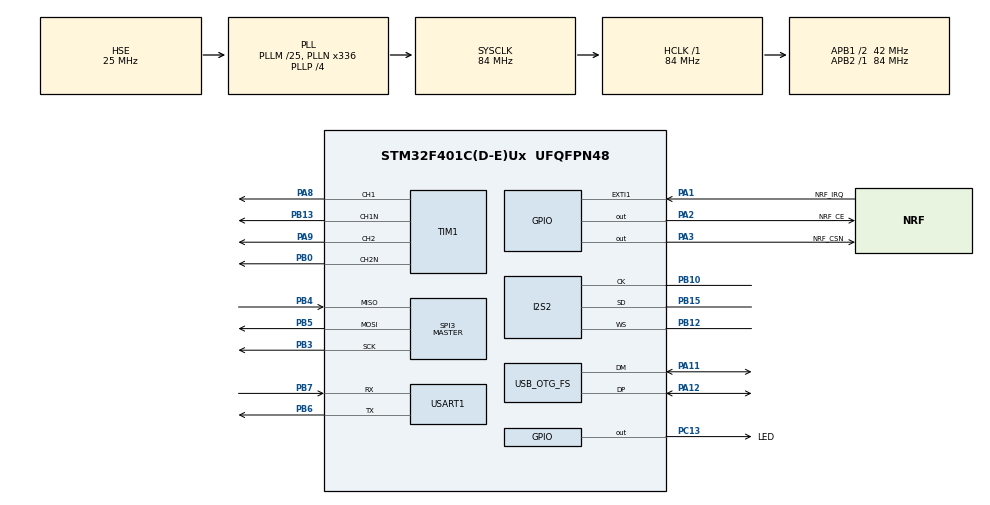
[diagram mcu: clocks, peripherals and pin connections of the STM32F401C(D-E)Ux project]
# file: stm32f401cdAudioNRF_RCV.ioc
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Dma.Request0=SPI2_TX
Dma.Request1=TIM1_CH1
Dma.Request2=TIM1_CH2
Dma.SPI2_TX.0.Direction=DMA_MEMORY_TO_PERIPH
Dma.SPI2_TX.0.FIFOMode=DMA_FIFOMODE_ENABLE
Dma.SPI2_TX.0.FIFOThreshold=DMA_FIFO_THRESHOLD_FULL
Dma.SPI2_TX.0.Instance=DMA1_Stream4
Dma.SPI2_TX.0.MemBurst=DMA_MBURST_INC8
Dma.SPI2_TX.0.MemDataAlignment=DMA_MDATAALIGN_HALFWORD
Dma.SPI2_TX.0.MemInc=DMA_MINC_ENABLE
Dma.SPI2_TX.0.Mode=DMA_CIRCULAR
Dma.SPI2_TX.0.PeriphBurst=DMA_PBURST_SINGLE
Dma.SPI2_TX.0.PeriphDataAlignment=DMA_PDATAALIGN_HALFWORD
Dma.SPI2_TX.0.PeriphInc=DMA_PINC_DISABLE
Dma.SPI2_TX.0.Priority=DMA_PRIORITY_HIGH
Dma.TIM1_CH1.1.Direction=DMA_MEMORY_TO_PERIPH
Dma.TIM1_CH1.1.FIFOMode=DMA_FIFOMODE_ENABLE
Dma.TIM1_CH1.1.FIFOThreshold=DMA_FIFO_THRESHOLD_FULL
Dma.TIM1_CH1.1.Instance=DMA2_Stream1
Dma.TIM1_CH1.1.MemBurst=DMA_MBURST_SINGLE
Dma.TIM1_CH1.1.MemDataAlignment=DMA_MDATAALIGN_HALFWORD
Dma.TIM1_CH1.1.MemInc=DMA_MINC_ENABLE
Dma.TIM1_CH1.1.Mode=DMA_CIRCULAR
Dma.TIM1_CH1.1.PeriphBurst=DMA_PBURST_SINGLE
Dma.TIM1_CH1.1.PeriphDataAlignment=DMA_PDATAALIGN_HALFWORD
Dma.TIM1_CH1.1.PeriphInc=DMA_PINC_DISABLE
Dma.TIM1_CH1.1.Priority=DMA_PRIORITY_HIGH
Dma.TIM1_CH2.2.Direction=DMA_MEMORY_TO_PERIPH
Dma.TIM1_CH2.2.FIFOMode=DMA_FIFOMODE_ENABLE
Dma.TIM1_CH2.2.FIFOThreshold=DMA_FIFO_THRESHOLD_FULL
Dma.TIM1_CH2.2.Instance=DMA2_Stream2
Dma.TIM1_CH2.2.MemBurst=DMA_MBURST_SINGLE
Dma.TIM1_CH2.2.MemDataAlignment=DMA_MDATAALIGN_HALFWORD
Dma.TIM1_CH2.2.MemInc=DMA_MINC_ENABLE
Dma.TIM1_CH2.2.Mode=DMA_CIRCULAR
Dma.TIM1_CH2.2.PeriphBurst=DMA_PBURST_SINGLE
Dma.TIM1_CH2.2.PeriphDataAlignment=DMA_PDATAALIGN_HALFWORD
Dma.TIM1_CH2.2.PeriphInc=DMA_PINC_DISABLE
Dma.TIM1_CH2.2.Priority=DMA_PRIORITY_HIGH
I2S2.AudioFreq=I2S_AUDIOFREQ_44K
I2S2.DataFormat=I2S_DATAFORMAT_32B
I2S2.ErrorAudioFreq=-1.35 %
I2S2.FullDuplexMode=I2S_FULLDUPLEXMODE_DISABLE
I2S2.Instance=SPI$Index
I2S2.RealAudioFreq=43.402 KHz
I2S2.VirtualMode=I2S_MODE_MASTER
Mcu.Family=STM32F4
Mcu.Name=STM32F401C(D-E)Ux
Mcu.Package=UFQFPN48
NVIC.DMA1_Stream4_IRQn=true\:0\:0\:false\:false\:true\:false\:true\:true
NVIC.DMA2_Stream1_IRQn=true\:0\:0\:false\:false\:true\:false\:true\:true
NVIC.DMA2_Stream2_IRQn=true\:0\:0\:false\:false\:true\:false\:true\:true
NVIC.EXTI1_IRQn=true\:0\:0\:false\:false\:true\:true\:true\:true
NVIC.PriorityGroup=NVIC_PRIORITYGROUP_4
PA1.GPIO_Label=NRF_IRQ
PA1.GPIO_ModeDefaultEXTI=GPIO_MODE_IT_FALLING
PA1.GPIO_PuPd=GPIO_PULLUP
PA1.Signal=GPXTI1
PA11.Mode=Device_Only
PA11.Signal=USB_OTG_FS_DM
PA12.Mode=Device_Only
PA12.Signal=USB_OTG_FS_DP
PA13.Mode=Serial_Wire
PA13.Signal=SYS_JTMS-SWDIO
PA14.Mode=Serial_Wire
PA14.Signal=SYS_JTCK-SWCLK
PA2.GPIO_Label=NRF_CE
PA2.GPIO_Speed=GPIO_SPEED_FREQ_HIGH
PA2.Signal=GPIO_Output
PA3.GPIO_Label=NRF_CSN
PA3.GPIO_Speed=GPIO_SPEED_FREQ_HIGH
PA3.Signal=GPIO_Output
PA8.GPIO_ModeDefaultPP=GPIO_MODE_AF_OD
PA8.Signal=S_TIM1_CH1
PA9.GPIO_ModeDefaultPP=GPIO_MODE_AF_OD
PA9.Signal=S_TIM1_CH2
PB0.Mode=PWM Generation2 CH2 CH2N
PB0.Signal=TIM1_CH2N
PB10.Mode=Half_Duplex_Master
PB10.Signal=I2S2_CK
PB12.Mode=Half_Duplex_Master
PB12.Signal=I2S2_WS
PB13.Mode=PWM Generation1 CH1 CH1N
PB13.Signal=TIM1_CH1N
PB15.Mode=Half_Duplex_Master
PB15.Signal=I2S2_SD
PB3.Mode=Full_Duplex_Master
PB3.Signal=SPI3_SCK
PB4.Mode=Full_Duplex_Master
PB4.Signal=SPI3_MISO
PB5.Mode=Full_Duplex_Master
PB5.Signal=SPI3_MOSI
PB6.Mode=Asynchronous
PB6.Signal=USART1_TX
PB7.Mode=Asynchronous
PB7.Signal=USART1_RX
PC13-ANTI_TAMP.GPIO_Label=LED
PC13-ANTI_TAMP.GPIO_ModeDefaultOutputPP=GPIO_MODE_OUTPUT_OD
PC13-ANTI_TAMP.GPIO_PuPd=GPIO_NOPULL
PC13-ANTI_TAMP.PinState=GPIO_PIN_SET
PC13-ANTI_TAMP.Signal=GPIO_Output
PC14-OSC32_IN.Mode=LSE-External-Oscillator
PC14-OSC32_IN.Signal=RCC_OSC32_IN
PC15-OSC32_OUT.Mode=LSE-External-Oscillator
PC15-OSC32_OUT.Signal=RCC_OSC32_OUT
PH0\ -\ OSC_IN.Mode=HSE-External-Oscillator
PH0\ -\ OSC_IN.Signal=RCC_OSC_IN
PH1\ -\ OSC_OUT.Mode=HSE-External-Oscillator
PH1\ -\ OSC_OUT.Signal=RCC_OSC_OUT
ProjectManager.HeapSize=0x200
ProjectManager.StackSize=0x400
ProjectManager.TargetToolchain=STM32CubeIDE
RCC.48MHZClocksFreq_Value=48000000
RCC.AHBFreq_Value=84000000
RCC.APB1CLKDivider=RCC_HCLK_DIV2
RCC.APB1Freq_Value=42000000
RCC.APB1TimFreq_Value=84000000
RCC.APB2Freq_Value=84000000
RCC.APB2TimFreq_Value=84000000
RCC.CortexFreq_Value=84000000
RCC.HCLKFreq_Value=84000000
RCC.HSE_VALUE=25000000
RCC.HSI_VALUE=16000000
RCC.PLLI2SN=100
RCC.PLLM=25
RCC.PLLN=336
RCC.PLLP=RCC_PLLP_DIV4
RCC.PLLQ=7
RCC.SYSCLKFreq_VALUE=84000000
RCC.SYSCLKSource=RCC_SYSCLKSOURCE_PLLCLK
RCC.VCOOutputFreq_Value=336000000
SH.S_TIM1_CH1.0=TIM1_CH1,PWM Generation1 CH1 CH1N
SH.S_TIM1_CH2.0=TIM1_CH2,PWM Generation2 CH2 CH2N
SPI3.Direction=SPI_DIRECTION_2LINES
SPI3.Mode=SPI_MODE_MASTER
SPI3.VirtualType=VM_MASTER
TIM1.Channel-PWM\ Generation1\ CH1\ CH1N=TIM_CHANNEL_1
TIM1.Channel-PWM\ Generation2\ CH2\ CH2N=TIM_CHANNEL_2
USART1.VirtualMode=VM_ASYNC
USB_OTG_FS.VirtualMode=Device_Only
VP_CRC_VS_CRC.Mode=CRC_Activate
VP_TIM1_VS_ClockSourceINT.Mode=Internal
VP_TIM3_VS_ClockSourceINT.Mode=Internal
board=custom

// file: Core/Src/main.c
/* USER CODE BEGIN Header */
/**
  ******************************************************************************
  * @file           : main.c
  * @brief          : Main program body
  ******************************************************************************
  * @attention
  *
  * Copyright (c) 2024 STMicroelectronics.
  * All rights reserved.
  *
  * This software is licensed under terms that can be found in the LICENSE file
  * in the root directory of this software component.
  * If no LICENSE file comes with this software, it is provided AS-IS.
  *
  ******************************************************************************
  */
/* USER CODE END Header */
#include "main.h"

CRC_HandleTypeDef hcrc;

I2S_HandleTypeDef hi2s2;
DMA_HandleTypeDef hdma_spi2_tx;

SPI_HandleTypeDef hspi3;

TIM_HandleTypeDef htim3;

UART_HandleTypeDef huart1;

PCD_HandleTypeDef hpcd_USB_OTG_FS;

/* USER CODE BEGIN PV */
#ifndef USBD_AUDIO_FREQ
#define USBD_AUDIO_FREQ 44100
#endif

#define SIGMA_BITS  15
#define SIGMA       (1<<SIGMA_BITS)

#define OLD

//#define LOW_LATENCY

#ifdef LOW_LATENCY
#define NUM_RCV_BFRS 2
#else
#define NUM_RCV_BFRS 3
#endif

#define ORDER 1
#define LINEAR_INTERPOLATION
#ifdef LINEAR_INTERPOLATION
#define FREQ_SCALE (6.0)

#define BIT_SHIFT_SCALE_FACT 12
#define SHIFT_SCALE_FACT  (1<<BIT_SHIFT_SCALE_FACT)
#else
#define FREQ_SCALE (8.0f)
#endif

//#define DEBUG_INFO_PRINT

#define SPDIF_FRAMES (192)

//https://askubuntu.com/questions/78174/play-sound-through-two-or-more-outputs-devices
//https://www.aliexpress.com/item/32810814170.html

#define TIME_FILT_LEN 10
int timeForRecivedSamples_mean[TIME_FILT_LEN];

#define TIME_BIT_SCALE_FACT 18
#define TIME_SCALE_FACT     (1<<TIME_BIT_SCALE_FACT)

#define MAX_CORR  (TIME_SCALE_FACT>>12)
//float  scaleOffs = 1;
//float  scaleDiff = 4;
int  scaleOffs = 1;
int  scaleDiff = 4;

#define TIMER_CLOCK_FREQ 1000000.0f

void delay_uS(int mkS)
{
	uint16_t lastAudioUsbTimeStampNew = TIM3->CNT+mkS;
	while(((uint16_t)(TIM3->CNT - lastAudioUsbTimeStampNew))&0x8000);
}

#define NUM_PAKS_IN_SUP 25
#define CHANEL_NUM      76
#define PAYLOAD 32
#define PACKET_SIZE (PAYLOAD-1)
static const uint8_t tx_address[5] = {0x17,0x27,0x37,0x47,0x57};

#define NUM_IN_SPDIF_DIV 16

#define N_SIZE         (SPDIF_FRAMES*4/NUM_IN_SPDIF_DIV)

//#define ASBUF_SIZE     (N_SIZE*2)
//__attribute__((section(".noncacheable")))
int16_t baudio_buffer[N_SIZE*4];

uint16_t* VoiceBuff0 = (uint16_t*)&baudio_buffer[0];
uint16_t* VoiceBuff1 = (uint16_t*)&baudio_buffer[N_SIZE];
int MAX_VOL = 65536;
void init_timers()
{

	  TIM1->ARR = MAX_VOL-1;
	  LL_AHB1_GRP1_EnableClock(LL_AHB1_GRP1_PERIPH_DMA2);
	  LL_DMA_ConfigAddresses(DMA2, LL_DMA_STREAM_1, (uint32_t)&VoiceBuff0[0], (uint32_t)&TIM1->CCR1, LL_DMA_GetDataTransferDirection(DMA2, LL_DMA_STREAM_1));
	  LL_DMA_SetDataLength(DMA2, LL_DMA_STREAM_1, N_SIZE);
	  LL_DMA_EnableIT_TC(DMA2, LL_DMA_STREAM_1);
	  LL_DMA_EnableIT_TE(DMA2, LL_DMA_STREAM_1);
	  LL_DMA_EnableIT_HT(DMA2, LL_DMA_STREAM_1);

	  LL_DMA_ConfigAddresses(DMA2, LL_DMA_STREAM_2, (uint32_t)&VoiceBuff1[0], (uint32_t)&TIM1->CCR2, LL_DMA_GetDataTransferDirection(DMA2, LL_DMA_STREAM_2));
	  LL_DMA_SetDataLength(DMA2, LL_DMA_STREAM_2, N_SIZE);
	  LL_DMA_EnableIT_TC(DMA2, LL_DMA_STREAM_2);
	  LL_DMA_EnableIT_HT(DMA2, LL_DMA_STREAM_2);
	  LL_DMA_EnableIT_TE(DMA2, LL_DMA_STREAM_2);

	  /***************************/
	  /* Enable the DMA transfer */
	  /***************************/
	  LL_DMA_EnableStream(DMA2, LL_DMA_STREAM_1);
	  LL_DMA_EnableStream(DMA2, LL_DMA_STREAM_2);

	  LL_TIM_EnableDMAReq_CC1(TIM1);
	  LL_TIM_EnableDMAReq_CC2(TIM1);

	  LL_TIM_CC_EnableChannel(TIM1, LL_TIM_CHANNEL_CH1);
	  LL_TIM_CC_EnableChannel(TIM1, LL_TIM_CHANNEL_CH2);

	  LL_TIM_OC_EnablePreload(TIM1, LL_TIM_CHANNEL_CH1);
	  LL_TIM_OC_EnablePreload(TIM1, LL_TIM_CHANNEL_CH2);

	  LL_TIM_CC_EnableChannel(TIM1, LL_TIM_CHANNEL_CH1N);
	  LL_TIM_CC_EnableChannel(TIM1, LL_TIM_CHANNEL_CH2N);
	  LL_TIM_OC_SetPolarity(TIM1, LL_TIM_CHANNEL_CH1,LL_TIM_OCPOLARITY_HIGH);
	  LL_TIM_OC_SetPolarity(TIM1, LL_TIM_CHANNEL_CH1N,LL_TIM_OCPOLARITY_HIGH);
	  LL_TIM_OC_SetPolarity(TIM1, LL_TIM_CHANNEL_CH2,LL_TIM_OCPOLARITY_HIGH);
	  LL_TIM_OC_SetPolarity(TIM1, LL_TIM_CHANNEL_CH2N,LL_TIM_OCPOLARITY_HIGH);
#if 0
	  //LL_TIM_OC_SetPolarity(TIM1, LL_TIM_CHANNEL_CH1,LL_TIM_OCPOLARITY_HIGH);
	  //LL_TIM_OC_SetPolarity(TIM1, LL_TIM_CHANNEL_CH1N,LL_TIM_OCPOLARITY_LOW);
      int res;
	  res = LL_TIM_OC_GetPolarity(TIM1, LL_TIM_CHANNEL_CH1);
	  printf("OC_GetPolarity %d\n",res);
	  res = LL_TIM_OC_GetPolarity(TIM1, LL_TIM_CHANNEL_CH1N);
	  printf("OC_GetPolarity %d\n",res);
#endif

	  LL_TIM_EnableCounter(TIM1);

	  LL_TIM_GenerateEvent_UPDATE(TIM1);
	  LL_TIM_GenerateEvent_CC1(TIM1);

}
void stop_timers()
{
	  LL_TIM_DisableCounter(TIM1);

}
void TIM1_TE1()
{
}
void TIM1_TC2()
{
}
void TIM1_HT2()
{
}
void TIM1_TE2()
{
}

#define INTERP_BITS  8
enum modess {NONE=-1,PWM=0,I2S,SPDIF};

enum modess OUT_MODE = NONE;
int  FREQ = 44100;

void retarget_put_char(char p)
{
	HAL_UART_Transmit(&huart1, &p, 1, 0xffffff); // send message via UART
}

#define BSIZE 0x2000
__attribute__((section(".noncacheable"))) volatile int8_t circ_buff[BSIZE];
volatile int c_write = 0;
volatile int c_read  = 0;

uint16_t crsize()
{
	return (c_write-c_read)&(BSIZE-1);
}

int  crget(char* r)
{
	if(!crsize()) return 0;
	*r = circ_buff[c_read];
	c_read ++;
	c_read&=BSIZE-1;
	return 1;

}

void cr_flush()
{
	char rr;
	//int ii = 1000;
	while(crsize())
	{
		crget(&rr),HAL_UART_Transmit(&huart1, &rr, 1, 0xffffff); // send message via UART
	}
}
void cr_flush_par()
{
	char rr;
	//int ii = 1000;
	if(crsize())
	{
		crget(&rr),HAL_UART_Transmit(&huart1, &rr, 1, 0xffffff); // send message via UART
	}
}

void crput(char r)
{
	if(crsize()<(BSIZE-1))
	{
		circ_buff[c_write] = r;
		c_write++;
		c_write&=BSIZE-1;
	}
}

int _write(int fd, char* ptr, int len)
{
    (void)fd;
    int i = 0;
    while (ptr[i] && (i < len))
    {
    	if (ptr[i] == '\r')
    	{

    	}
    	else
    	{
    		crput(ptr[i]);
			//retarget_put_char((int)ptr[i]);
			if (ptr[i] == '\n')
			{
				crput('\r');
				//retarget_put_char((int)'\r');
			}
    	}
        i++;
    }
    return len;
}
#include "tm_stm32f1_nrf24l01.h"
//#include "nrf24l01.h"

extern SPI_HandleTypeDef hspi1;

uint8_t  old_counter = 0;

int cntOk;
int cntLost;

int nrfOnline=0;

//static const uint8_t rx_address[5] = {0x1e,0x2e,0x3e,0x4e,0x5e};

#define RCV_SIZE ( PACKET_SIZE*(NUM_PAKS_IN_SUP-1))
uint8_t rcv_buff[RCV_SIZE*NUM_RCV_BFRS];
volatile int rcv_buff_write = 0;

struct sAuPacket
{
	uint8_t num;
	uint8_t data[PACKET_SIZE];
} APacketQ[NUM_PAKS_IN_SUP];

struct sAuPacket ATemp;

int  median3(int  a, int  b, int  c)
{
   return (b<a)
              ?   (b<c)  ?  (c<a) ? c : a  :  b
              :   (a<c)  ?  (c<b) ? c : b  :  a;
}

int tfl_mean[3];
int pnt_mean = 0;

struct sLastDma
{
	uint16_t  lastDmaPos;
	uint16_t  lastDmaAccessTime;
};

volatile struct sLastDma lastDma;

uint32_t  readPositionXScaled  = 0;
uint32_t  readSpeedXScaled     = 1;
uint32_t  samplesInBuffScaled  = 0;

volatile int UsbSamplesAvail = 0;

int32_t   samplesInBuff     = 0;
void * usb_SndBuffer        = 0;
#define VOL_BITS   6
#define VOL_SCALE  (1<<VOL_BITS)

int volume     = 0;
int volume_set = VOL_SCALE;
int volume_inc = 1;
void volume_ctrl()
{
	static int prev;
	int curr = HAL_GetTick();
	if(curr-prev>20)
	{
		if(volume_inc>0)
		{
			if(volume<volume_set)
				volume+=1;
			else
				volume_inc = 0;
		}
		else if(volume_inc<0)
		{
			if(volume>0)
				volume-=1;
			else
				volume_inc = 0;
		}
		prev = curr;
	}
	else
	{
	}
}
int bytesPerSampleLR = 4;
#define  OVER_OFFSET (samplesInBuff*1/16)
void AUDIO_OUT_Start(void* pBuffer, uint32_t Size,int sampleBits)
{
	bytesPerSampleLR = 2*sampleBits/8;
	samplesInBuff = Size/bytesPerSampleLR; //(L & R channels short)
	printf("AUDIO_OUT_Start %p Size = %d sampleBits=%d DMA_B %d  bytesPerSampleLR=%d samplesInBuff %d half samples out %d \n",pBuffer,Size,sampleBits,N_SIZE*8,bytesPerSampleLR,samplesInBuff,N_SIZE/2);

	usb_SndBuffer = pBuffer;
	volume = 0;
	volume_inc  = 1;
	//AUDIO_OUT_Play_Counter++;

	samplesInBuffScaled = samplesInBuff<<TIME_BIT_SCALE_FACT;
	readPositionXScaled = samplesInBuffScaled/2+OVER_OFFSET;
#ifdef OLD
	int timeForRecivedSamples = samplesInBuff*TIMER_CLOCK_FREQ/USBD_AUDIO_FREQ;
#else
	int timeForRecivedSamples = samplesInBuff*TIMER_CLOCK_FREQ/USBD_AUDIO_FREQ/NUM_RCV_BFRS;
#endif
	printf("timeForRecivedSamples %d\n",timeForRecivedSamples);
	for(int k=0;k<TIME_FILT_LEN;k++)
	{
		timeForRecivedSamples_mean[k] = timeForRecivedSamples;
	}
	//inputSpeed = samplesInBuff*TIMER_CLOCK_FREQ/timeForRecivedSamples
}
uint16_t  lastAudioUsbTimeStamp;

int pnt_timeForRecivedSamples_mean = 0;

float inputSpeed = 0;
float outSpeed;
int   offset_C_prev = -1 ;
int   appDistErr = 0;

struct STD_VAR
{
	float summ;
	float summQ;
	int cnt;
}sPos,sDif;
void clearV(struct STD_VAR * pnt)
{
	pnt->summ = 0;
	pnt->summQ = 0;
	pnt->cnt = 0;
};
void addV(struct STD_VAR * pnt,float val)
{
	pnt->summ+= val;
	pnt->summQ+= val*val;
	pnt->cnt++;
}
void calcV(struct STD_VAR * pnt,float* pmean,float*pvariance)
{
	float div = (pnt->cnt==0)?1.0f:(1.0f/pnt->cnt);
	float mean = pnt->summ *div;
	float variance = pnt->summQ *div  - mean * mean;
	*pmean = mean;
	*pvariance =  sqrtf(variance);
}
int forceCounter = 0;
int module(int num,int mod)
{
	while(num>mod/2)   num-=mod;
	while(num<-mod/2)  num+=mod;
	return num;
}

int ledTimeOut = 0;

void AUDIO_OUT_Periodic(uint8_t* pBuffer)
{
	//AUDIO_PeriodicTC_FS_Counter++;
	if(!usb_SndBuffer || OUT_MODE == NONE) return ;
	uint16_t lastAudioUsbTimeStampNew = TIM3->CNT;
	int currentWritePos  = (pBuffer - (uint8_t*)usb_SndBuffer)/bytesPerSampleLR;
#ifdef OLD
	if(currentWritePos) return ;
#endif

	struct sLastDma lastDmaCopy = lastDma;
	lastDmaCopy.lastDmaAccessTime;
	lastDmaCopy.lastDmaPos;

	uint16_t timeForRecivedSamples = lastAudioUsbTimeStampNew - lastAudioUsbTimeStamp;

	timeForRecivedSamples_mean [pnt_timeForRecivedSamples_mean++] = timeForRecivedSamples;
	pnt_timeForRecivedSamples_mean%=TIME_FILT_LEN;

	lastAudioUsbTimeStamp = lastAudioUsbTimeStampNew;

    // calc timeForRecivedSamples
	{
		int summ_t = timeForRecivedSamples_mean[0];
		int max_t = timeForRecivedSamples_mean[0];
		int min_t = timeForRecivedSamples_mean[0];
		for(int k=1;k<TIME_FILT_LEN;k++)
		{
			if(timeForRecivedSamples_mean[k]<min_t) min_t =timeForRecivedSamples_mean[k];
			if(timeForRecivedSamples_mean[k]>max_t) max_t =timeForRecivedSamples_mean[k];
			summ_t+= timeForRecivedSamples_mean[k];
		}
		summ_t -=max_t+min_t;
		summ_t/= TIME_FILT_LEN-2;
		timeForRecivedSamples  = summ_t;
	}
#ifdef OLD
	inputSpeed = samplesInBuff*TIMER_CLOCK_FREQ/timeForRecivedSamples;
#else
	inputSpeed = samplesInBuff*TIMER_CLOCK_FREQ/timeForRecivedSamples/NUM_RCV_BFRS;
#endif

	//where i am ?

	uint16_t timeFromLastDMA = lastAudioUsbTimeStampNew - lastDmaCopy.lastDmaAccessTime;
	if(timeFromLastDMA&0x8000)
	{
		HAL_GPIO_WritePin(LED_GPIO_Port,LED_Pin,GPIO_PIN_RESET);
		ledTimeOut = 20;
		// seems we have interrupt here,reset time
		printf("oveflow intr \n");
		timeFromLastDMA = 0;
	}

	int approximateSamplesOutedFromLastDMA  = ((float)timeFromLastDMA/TIMER_CLOCK_FREQ)*inputSpeed;
	int currentReadPos = approximateSamplesOutedFromLastDMA + lastDmaCopy.lastDmaPos;
	int appDistance  =  (currentWritePos  - currentReadPos + OVER_OFFSET + samplesInBuff) % samplesInBuff;
	int offset_C = module(appDistance - samplesInBuff/2 ,samplesInBuff);

	if(UsbSamplesAvail>0)
	{
		int diff_C = module(offset_C - offset_C_prev,samplesInBuff);
		// used for info print only
		appDistErr = offset_C;
		addV(&sPos,offset_C);
		addV(&sDif,diff_C);
		// end for info print only

		if(offset_C > samplesInBuff/8 || offset_C <-samplesInBuff/8 ) //seems completely lost sync , force set frequency
		{
#if 1
			//if(ledTimeOut>0)
			printf("forceB curr %d offsc %d appdist %d %d %d %d sinb/2 %d\n",currentReadPos,offset_C,appDistance,lastDmaCopy.lastDmaPos,approximateSamplesOutedFromLastDMA,timeFromLastDMA,samplesInBuff/2);
			int sForcedSpeed = (int)(inputSpeed*TIME_SCALE_FACT/outSpeed);
			readSpeedXScaled = sForcedSpeed;
			forceCounter ++;
			// move position to center (currentWrite-B/2)
			readPositionXScaled = ((currentWritePos<<TIME_SCALE_FACT)+ samplesInBuffScaled/2)%samplesInBuffScaled;
			//readPositionXScaled =  samplesInBuffScaled/2;
#endif
		}
		else
		{
			int corr = (offset_C*scaleOffs + diff_C*scaleDiff);
#ifdef MAX_CORR
			if(corr > MAX_CORR)
			{
				HAL_GPIO_WritePin(LED_GPIO_Port,LED_Pin,GPIO_PIN_RESET);
				ledTimeOut = 10;
				corr = MAX_CORR;
			}
			else if(corr < -MAX_CORR)
			{
				HAL_GPIO_WritePin(LED_GPIO_Port,LED_Pin,GPIO_PIN_RESET);
				ledTimeOut = 10;
				corr  =-MAX_CORR;
			}
			else
#endif
			{
				if(ledTimeOut>0)
				{
					ledTimeOut--;
				}
				else
				{
					HAL_GPIO_WritePin(LED_GPIO_Port,LED_Pin,GPIO_PIN_SET);
				}

			}
			readSpeedXScaled += corr;
		}
	}
	else
	{
		//readPositionXScaled = samplesInBuffScaled/2;
		readPositionXScaled = ((currentWritePos<<TIME_SCALE_FACT)+ samplesInBuffScaled/2)%samplesInBuffScaled;
	}
	volume_ctrl();
	volume_inc = 1;
	offset_C_prev =  offset_C;
	int outSpeed = OUT_MODE==SPDIF?(FREQ/4):FREQ;
#ifdef OLD
	UsbSamplesAvail = 1.2*samplesInBuff*(outSpeed)/(inputSpeed+1);
#else
	UsbSamplesAvail = 1.2*samplesInBuff/NUM_RCV_BFRS*(outSpeed)/(inputSpeed+1);
#endif
}
#if 0
void buff_init(uint8_t* buffer,int buffer_size)
{
	int bytesPerSampleLR = 2*sampleBits/8;
	samplesInBuff = Size/bytesPerSampleLR; //(L & R channels short)
	samplesInBuffH = samplesInBuff/2;

	usb_SndBuffer = pBuffer;
	AUDIO_OUT_Play_Counter++;

	samplesInBuffScaled = samplesInBuff<<TIME_BIT_SCALE_FACT;
	readPositionXScaled = samplesInBuffScaled/2;
}
#endif

struct LR
{
	int32_t L;
	int32_t R;
};
struct LR16
{
	int16_t l;
	int16_t r;
};
struct LR32
{
	uint8_t bts[8];
};

inline struct LR getNextSampleLR32B()
{
	struct LR res;
	int32_t L  = 0;
	int32_t R  = 0;
	if(UsbSamplesAvail)
	{
		//HAL_GPIO_WritePin(LED_GPIO_Port,LED_Pin,GPIO_PIN_RESET);
		readPositionXScaled += readSpeedXScaled;
		if(readPositionXScaled >= samplesInBuffScaled)
		{
			readPositionXScaled -= samplesInBuffScaled;
		}

		uint32_t readPositionIntC = readPositionXScaled>>TIME_BIT_SCALE_FACT;
#ifdef B24
			struct LR24 lrc = ((struct LR24*)usb_SndBuffer)[readPositionIntC];
			{
				uint8_t * LP = &L;
				uint8_t * RP = &R;
				LP[1] = lrc.bts[0];
				LP[2] = lrc.bts[1];
				LP[3] = lrc.bts[2];

				RP[1] = lrc.bts[3];
				RP[2] = lrc.bts[4];
				RP[3] = lrc.bts[5];
			}
			L>>=8;
			R>>=8;
#ifdef LINEAR_INTERPOLATION
			uint32_t readPositionIntN = readPositionIntC+1;
			if(readPositionIntN>=samplesInBuff)
			{
				readPositionIntN -= samplesInBuff;
			}
			int32_t LS  = 0;
			int32_t RS  = 0;
			struct LR24 lrcs = ((struct LR24*)usb_SndBuffer)[readPositionIntN];
			{
				uint8_t * LP = &LS;
				uint8_t * RP = &RS;
				LP[1] = lrcs.bts[0];
				LP[2] = lrcs.bts[1];
				LP[3] = lrcs.bts[2];

				RP[1] = lrcs.bts[3];
				RP[2] = lrcs.bts[4];
				RP[3] = lrcs.bts[5];
			}
			LS>>=8;
			RS>>=8;

			int32_t W1  =  (readPositionXScaled>>(TIME_BIT_SCALE_FACT-INTERP_BITS)) & ((1<<INTERP_BITS)-1);
			int32_t W  =  (1<<INTERP_BITS)-W1;
			L = (volume*(((L)*W+(LS)*W1)>>INTERP_BITS)/VOL_SCALE);
			R = (volume*(((R)*W+(RS)*W1)>>INTERP_BITS)/VOL_SCALE);
#else
			L = volume*L/VOL_SCALE;
			R = volume*R/VOL_SCALE;
#endif
#else
		struct LR16 lrc =((struct LR16*)usb_SndBuffer)[readPositionIntC];
		L  = lrc.l;
		R  = lrc.r;
#ifdef LINEAR_INTERPOLATION
		uint32_t readPositionIntN = readPositionIntC+1;
		if(readPositionIntN>=samplesInBuff)
		{
			readPositionIntN -= samplesInBuff;
		}
		struct LR16 lrcs =((struct LR16*)usb_SndBuffer)[readPositionIntN];
		int32_t LS  = lrcs.l;
		int32_t RS  = lrcs.r;

		//int16_t LS  = usb_SndBuffer[readPositionIntN*2+0];//+usb_SndBuffer[readPositionIntN*2+0];
		//int16_t RS  = usb_SndBuffer[readPositionIntN*2+1];//+usb_SndBuffer[readPositionIntN*2+1];

		int32_t W1  =  (readPositionXScaled>>(TIME_BIT_SCALE_FACT-INTERP_BITS)) & ((1<<INTERP_BITS)-1);
		int32_t W  =  (1<<INTERP_BITS)-W1;
		L = 256*(volume*((L*W+LS*W1)>>INTERP_BITS)/VOL_SCALE);
		R = 256*(volume*((R*W+RS*W1)>>INTERP_BITS)/VOL_SCALE);
#else
		L = 256*(volume*L/VOL_SCALE);
		R = 256*(volume*R/VOL_SCALE);
#endif
#endif

	}
	res.L = L;
	res.R = R;
	return res;
}

void checkTime()
{
	uint16_t  prevTime;
	uint16_t  tfl;
	struct sLastDma lastDmaCopy;
	prevTime = lastDma.lastDmaAccessTime;
	lastDmaCopy.lastDmaPos = readPositionXScaled>>TIME_BIT_SCALE_FACT;;
	lastDmaCopy.lastDmaAccessTime = TIM3->CNT;
	lastDma = lastDmaCopy;

	tfl      = lastDmaCopy.lastDmaAccessTime -prevTime;

	tfl_mean[pnt_mean] = tfl;
	pnt_mean++;
	if(pnt_mean>2) pnt_mean =0;

    int mean = median3(tfl_mean[0],tfl_mean[1],tfl_mean[2]);
    if (mean)
    {
		float outDmaSpeed;

		if(OUT_MODE==SPDIF)
		{
			outDmaSpeed =  ((float)N_SIZE)/4/(mean);
		}
		else
		{
			outDmaSpeed =  ((float)N_SIZE)/(mean);
		}
		outSpeed = (TIMER_CLOCK_FREQ*outDmaSpeed);
    }
   // else
  //  {
    //	outDmaSpeedScaled =  TIME_SCALE_FACT*N_SIZE/(mean);
  //  }
}

void i2s_fill(struct LR32 * bfr)
{
	for(int k=0;k<N_SIZE/2;k++)
	{
		struct LR bf= getNextSampleLR32B(/*k+ASBUF_SIZE/4*/);
		struct LR32* bfp =(struct LR32*)&bf;
#if 1
		bfr[k].bts[0] = bfp->bts[1];
		bfr[k].bts[1] = bfp->bts[2];
		bfr[k].bts[2] = 0;
		bfr[k].bts[3] = bfp->bts[0];

		bfr[k].bts[4] = bfp->bts[1+4];
		bfr[k].bts[5] = bfp->bts[2+4];
		bfr[k].bts[6] = 0;
		bfr[k].bts[7] = bfp->bts[0+4];
#else
		bfr[k].bts[0] =0;
		bfr[k].bts[1] =0;
		bfr[k].bts[2] = (bf.L>>16)&0xff;
		bfr[k].bts[3] = 0;
		bfr[k].bts[4] = 0;
		bfr[k].bts[5] = 0;
		bfr[k].bts[6] = (bf.R>>16)&0xff;
		bfr[k].bts[7] = 0;
#endif
		//bfr[k].L = (int)bf.l;
		//bfr[k].R = (int)bf.r;
	}
}
int TransferComplete_CallBack_FS_Counter = 0;
int HalfTransfer_CallBack_FS_Counter = 0;

void HAL_I2S_TxCpltCallback(I2S_HandleTypeDef *hi2s)
{
    checkTime();
	TransferComplete_CallBack_FS_Counter++;
	    if(UsbSamplesAvail > N_SIZE/2)
	    {
	    	UsbSamplesAvail -= N_SIZE/2;
	    }
	    else
	    {
	    	UsbSamplesAvail = 0;
	        volume = 0;
	    }
	  //  LR16 getNextSampleLR16()
#if 0
		struct LR16 * bfr = ((struct LR16 *) baudio_buffer)+N_SIZE/2;
		for(int k=0;k<N_SIZE/2;k++)
		{
			bfr[k] = getNextSampleLR16(/*k+ASBUF_SIZE/4*/);

		}
#else
		struct LR32 * bfr = ((struct LR32 *) baudio_buffer)+N_SIZE/2;
		i2s_fill(bfr);
#endif
}

//void HAL_I2S_TxHalfCpltCallback(I2S_HandleTypeDef *hi2s)
void HAL_I2S_TxHalfCpltCallback(I2S_HandleTypeDef *hi2s)
{
    HalfTransfer_CallBack_FS_Counter++;
	    if(UsbSamplesAvail > N_SIZE/2)
	    {
	    	UsbSamplesAvail -= N_SIZE/2;
	    }
	    else
	    {
	    	UsbSamplesAvail = 0;
	        volume = 0;
	    }
#if 0
		struct LR16 * bfr = ((struct LR16 *) baudio_buffer);
		for(int k=0;k<N_SIZE/2;k++)
			bfr[k] = getNextSampleLR16(/*k*/);
#else
		struct LR32 * bfr = ((struct LR32 *) baudio_buffer);
		i2s_fill(bfr);
#endif
}

//stm32f401       	PCM1502
//PB15 I2S_SD     	DIN
//PB12 I2S_SW     	LCK
//PB10 I2S_CK     	BCK
//GND  (MUST BE 0)  SCK
//GND    			GND
//+5                VIN

void HAL_I2S_ErrorCallback(I2S_HandleTypeDef *hi2s)
{
	printf("HAL_I2S_ErrorCallback !!!!!!!!!!!!!!!\n");
  //BSP_AUDIO_OUT_Error_CallBack();
}
struct LR16 getNextSampleLR16()
{
	struct LR16 res;
	struct LR res32=getNextSampleLR32B();
	res.l = res32.L/256;
	res.r = res32.R/256;
	return res;
}

#define DATA_BITS_H 21
#define DATA_BITS   22
inline struct LR getNextSampleLR()
{
	struct LR res ;
	//res.L = ((MAX_VOL)*((1<<DATA_BITS_H)))>>(DATA_BITS-SIGMA_BITS);
	//res.R = ((MAX_VOL)*((1<<DATA_BITS_H)))>>(DATA_BITS-SIGMA_BITS);
	//if(UsbSamplesAvail)
	//{
		struct LR res32 = getNextSampleLR32B();
		res.L = ((MAX_VOL)*((res32.L>>2)+(1<<DATA_BITS_H)))>>(DATA_BITS-SIGMA_BITS);
		res.R = ((MAX_VOL)*((res32.R>>2)+(1<<DATA_BITS_H)))>>(DATA_BITS-SIGMA_BITS);
	//}
	return res;

}
void cleanAudioBuffer()
{
#if 0
	float amp =  MAX_VOL/8;
	for(int k=0;k<N_SIZE;k++)
	{
		VoiceBuff0[k] = sin(k*M_PI*2/(N_SIZE-1))*amp+amp;
		VoiceBuff1[k] = sin(4*k*M_PI*2/(N_SIZE-1))*amp+amp;

	}
#endif
	///*
	for(int k=0;k<N_SIZE;k++)
	{
		VoiceBuff0[k] = MAX_VOL/2;
		VoiceBuff1[k] = MAX_VOL/2;
	}
	//*/
}

struct  sigmaDeltaStorage_SCALED
{
	int integral;
//	int y;
};
struct  sigmaDeltaStorage2_SCALED
{
	int integral0;
	int integral1;
	//int y;
};

int sigma_delta_SCALED(struct sigmaDeltaStorage_SCALED* st,int x_SCALED)
{
	int y		 =st->integral>>SIGMA_BITS;
	if(y < 0)
		y = 0;
	if(y > (MAX_VOL))
		y = MAX_VOL;

	st->integral+= x_SCALED - (y<<SIGMA_BITS);
	return y;
}

inline int sigma_delta2_SCALED(struct sigmaDeltaStorage2_SCALED* st,int x_SCALED)
{
	int y		 =st->integral1>>SIGMA_BITS;
	if(y < 0)
		y = 0;
	if(y > MAX_VOL)
		y = MAX_VOL;

	st->integral0+= x_SCALED      - (y<<SIGMA_BITS);
	st->integral1+= st->integral0 - (y<<SIGMA_BITS);
	//st->y		 =(st->integral1+SIGMA/2)/SIGMA;
	return y;
}

struct sigmaDeltaStorage_SCALED static_L_channel_SCALED;
struct sigmaDeltaStorage_SCALED static_R_channel_SCALED;

struct sigmaDeltaStorage2_SCALED static_L_channel2_SCALED;
struct sigmaDeltaStorage2_SCALED static_R_channel2_SCALED;

void readDataTim(int offset)
{

#if    (ORDER==0)
	for(int k=0;k<N_SIZE/2;k++)
	{
		struct LR tt =getNextSampleLR(/*k+ASBUF_SIZE/4*/);
		VoiceBuff0[k+offset] =tt.L>>SIGMA_BITS;
		VoiceBuff1[k+offset] =tt.R>>SIGMA_BITS;
	}
#endif
#if (ORDER==1)
	for(int k=0;k<N_SIZE/2;k++)
	{
		struct LR tt =getNextSampleLR(/*k+ASBUF_SIZE/4*/);
		VoiceBuff0[k+offset] =sigma_delta_SCALED(&static_L_channel_SCALED,tt.L);
		VoiceBuff1[k+offset] =sigma_delta_SCALED(&static_R_channel_SCALED,tt.R);
	}
#endif
#if (ORDER==2)
	for(int k=0;k<N_SIZE/2;k++)
	{
		struct LR tt =getNextSampleLR(/*k+ASBUF_SIZE/4*/);
		VoiceBuff0[k+offset] =sigma_delta2_SCALED(&static_L_channel_SCALED,tt.L);
		VoiceBuff1[k+offset] =sigma_delta2_SCALED(&static_R_channel_SCALED,tt.R);
	}
#endif
	//HAL_GPIO_WritePin(LED_GPIO_Port, LED_Pin,UsbSamplesAvail?GPIO_PIN_RESET:GPIO_PIN_SET);
	//tval0 = VoiceBuff0[offset];
	//tval1 = VoiceBuff1[offset];
}

void TIM1_TC1()
{
	//HAL_GPIO_WritePin(SYNC_GPIO_Port,SYNC_Pin,GPIO_PIN_SET);

    checkTime();
    if(UsbSamplesAvail > N_SIZE/2)
    {
    	UsbSamplesAvail -= N_SIZE/2;
    }
    else
    {
    	UsbSamplesAvail = 0;
    }
	TransferComplete_CallBack_FS_Counter++;
	readDataTim(N_SIZE/2);
}
void TIM1_HT1()
{
	//HAL_GPIO_WritePin(SYNC_GPIO_Port,SYNC_Pin,GPIO_PIN_RESET);
	HalfTransfer_CallBack_FS_Counter++;
    if(UsbSamplesAvail > N_SIZE/2)
    {
    	UsbSamplesAvail -= N_SIZE/2;
    }
    else
    {
    	UsbSamplesAvail = 0;
    }
    readDataTim(0);
}

void HAL_GPIO_EXTI_Callback(uint16_t GPIO_Pin)
{
	//printf("HAL_GPIO_EXTI_Callback %d\n",GPIO_Pin);
	if(GPIO_Pin==NRF_IRQ_Pin)
	{
		//clearInt();
		//nrf_irq_handler(&nrf);
	}
	//if(GPIO_Pin==NRF1_IRQ_Pin)
	{
		//nrf_irq_handler(&nrf1);
	}
}
void reinit_vars(enum modess mode)
{
	OUT_MODE = mode;
	stop_timers();
	HAL_I2S_DMAStop(&hi2s2);

	if(OUT_MODE==PWM)
	{
#if     (ORDER==0)
		FREQ = USBD_AUDIO_FREQ;
#else
		FREQ = 	48000*FREQ_SCALE; //max 10!
#endif
		cleanAudioBuffer();
		MAX_VOL = ((HAL_RCC_GetSysClockFreq()/FREQ)-2)&~1;
		//MAX_VOL = (HAL_RCC_GetSysClockFreq()/FREQ)-1;
	//	MAX_VOL = (SYS_CLK_MHZ*1000000/FREQ);
		int fill = MAX_VOL/2*(1<<SIGMA_BITS);
		static_L_channel_SCALED.integral = fill;
		static_R_channel_SCALED.integral = fill;
		static_L_channel2_SCALED.integral0 = fill;
		static_R_channel2_SCALED.integral0 = fill;
		static_L_channel2_SCALED.integral1 = fill;
		static_R_channel2_SCALED.integral1 = fill;
		FREQ = HAL_RCC_GetSysClockFreq()/(MAX_VOL);
		  LL_TIM_DisableAllOutputs(TIM1);
		readSpeedXScaled     = 1.001*TIME_SCALE_FACT*USBD_AUDIO_FREQ/(float)FREQ;
		  init_timers();
		  HAL_Delay(100);
		  LL_TIM_EnableAllOutputs(TIM1);
	}
	else if(mode==I2S)
	{
		FREQ = I2S_AUDIOFREQ_96K;
		outSpeed = FREQ;
		HAL_I2S_DeInit(&hi2s2);
		hi2s2.Instance = SPI2;
		hi2s2.Init.Mode = I2S_MODE_MASTER_TX;
		hi2s2.Init.Standard = I2S_STANDARD_PHILIPS;
		hi2s2.Init.DataFormat = I2S_DATAFORMAT_32B;
		hi2s2.Init.MCLKOutput = I2S_MCLKOUTPUT_DISABLE;
		hi2s2.Init.AudioFreq = FREQ;
		hi2s2.Init.CPOL = I2S_CPOL_LOW;
		hi2s2.Init.ClockSource = I2S_CLOCK_PLL;
		hi2s2.Init.FullDuplexMode = I2S_FULLDUPLEXMODE_DISABLE;
		if (HAL_I2S_Init(&hi2s2) != HAL_OK)
		{
		Error_Handler();
		}
		readSpeedXScaled     = 1.001*TIME_SCALE_FACT*USBD_AUDIO_FREQ/(float)FREQ;
		HAL_I2S_Transmit_DMA(&hi2s2, baudio_buffer,N_SIZE*2);
	}
	readSpeedXScaled     = 1.001*TIME_SCALE_FACT*USBD_AUDIO_FREQ/(float)FREQ;

}
void example()
{
    //uint32_t rx_data;
	 TIM3->PSC  = (int)(HAL_RCC_GetSysClockFreq()/TIMER_CLOCK_FREQ)-1;
	  HAL_TIM_Base_Start(&htim3);

    	nrfOnline = nRF24_Check();
    	printf("nrfOnline %d\n",nrfOnline);cr_flush();
		TM_NRF24L01_Init(CHANEL_NUM, PAYLOAD);
		/* Set 2MBps data rate and -18dBm output power */
		TM_NRF24L01_SetRF(TM_NRF24L01_DataRate_2M, TM_NRF24L01_OutputPower_0dBm);

		/* Set my address, 5 bytes */
		TM_NRF24L01_SetMyAddress(tx_address);

		/* Set TX address, 5 bytes */
		TM_NRF24L01_SetTxAddress(tx_address);
		TM_NRF24L01_Transmit_Status_t transmissionStatus;
	    int start = HAL_GetTick();
	    TM_NRF24L01_PowerUpRx();
	    int prev_summ =0;
		int a0=0;
		int a1=0;
		int berr = 0;
		int cntCorr =0;
		uint16_t st=0;
		uint16_t rt=0;
		uint8_t *addr = 0;
	    while(1)
	    {

	    	//clearInt();
			//while(TM_NRF24L01_GetStatus()&14) //TM_NRF24L01_RxFifoEmpty()
	    	while(TM_NRF24L01_RxFifoEmpty())
			{
	    		delay_uS(2);
				//tm++;
				cr_flush_par();
			};
	    	uint8_t bytes = TM_NRF24L01_ReadRXBytes();
	    	while(bytes!=32)
	    	{
				a0 = bytes;
				berr++;
				delay_uS(5);
	    		TM_NRF24L01_PowerUpRx();
				delay_uS(5);
		    	while(TM_NRF24L01_RxFifoEmpty())
				{
		    		delay_uS(2);
					//tm++;
					cr_flush_par();
				};
		    	bytes = TM_NRF24L01_ReadRXBytes();
	    	}

			//PKT.counter = 0;
			TM_NRF24L01_GetData(&ATemp);
			if(ATemp.num>NUM_PAKS_IN_SUP-1)
			{
				//NUM_PAKS_IN_SUP = PKT.counter+1;
				//cntOk  = 0;
				//cntLost  = 0;
				//a0=0;
				//a1=0;
			}

			if(addr)
			{
				//AUDIO_OUT_Periodic(addr);
				addr = 0;
			}
			int  dfr = (ATemp.num+NUM_PAKS_IN_SUP-1)%NUM_PAKS_IN_SUP;
#if 1
			if(ATemp.num < old_counter)
			{
				//addr = &rcv_buff[RCV_SIZE*((rcv_buff_write)%NUM_RCV_BFRS)];
				AUDIO_OUT_Periodic(&rcv_buff[RCV_SIZE*((rcv_buff_write)%NUM_RCV_BFRS)]);
				int cnt_lerr = 0;
				int lost_packet_num = -1;
				for(int k=0;k<NUM_PAKS_IN_SUP;k++)
				{
					if(APacketQ[k].num!=k)
					{
						lost_packet_num = k;
						cnt_lerr++;
					}
				}
				if(cnt_lerr==1)
				{
					// here we can correct error!!!
					if(lost_packet_num==NUM_PAKS_IN_SUP-1)
					{
						//do nothing , only xor_packet was broken;
					}
					else
					{
						// data packet missed
						// init with xor_packet
				    	st = TIM3->CNT;
						struct sAuPacket* lostPacket = &APacketQ[lost_packet_num];

						*lostPacket = APacketQ[NUM_PAKS_IN_SUP-1];
						for(int k=0;k<NUM_PAKS_IN_SUP-1;k++)
						{
							if(k!=lost_packet_num)
							{
								struct sAuPacket* tmpPacket = &APacketQ[k];
								for(int t=0;t<PACKET_SIZE;t++)
								{
									lostPacket->data[t]^=tmpPacket->data[t];
								}
							}
						}
						st = TIM3->CNT-st;
					}
					cntCorr++;
				}
				else if(cnt_lerr>1)
				{
					cntLost++;
				}
				else
				{
					cntOk += NUM_PAKS_IN_SUP;
				}
				if(cnt_lerr<2)
				{
					// move packets to buffer
					rt = TIM3->CNT;
					for(int k=0;k<NUM_PAKS_IN_SUP-1;k++)
					{
						struct sAuPacket* tmpPacket = &APacketQ[k];
						uint8_t* pnt = &rcv_buff[RCV_SIZE*rcv_buff_write+PACKET_SIZE*k];
						for(int t=0;t<PACKET_SIZE;t++)
						{
								pnt[t] = tmpPacket->data[t];
						}
					}

					//AUDIO_OUT_Periodic(&rcv_buff[RCV_SIZE*rcv_buff_write]);
					rcv_buff_write = (rcv_buff_write+1)%NUM_RCV_BFRS;
					rt = TIM3->CNT-rt;
				}
				int summ = cntOk+cntLost;
				int curr = HAL_GetTick();
				if((curr-start)>=2000)
				{
					//printf("Ok %d,Lost %d, berr%d  %d mS, %d KB/s %d err %d %d %d %d %d %d appDistErr %d\n",cntOk,cntLost,berr,curr-start,(int)((summ-prev_summ)*1000*31/(curr-start)),bytes,cnt_lerr,rt,st,cntCorr,(int)inputSpeed,(int)outSpeed);//cr_flush();
					float sPos_mean,sPos_dev;
					float sDif_mean,sDif_dev;
					calcV(&sPos,&sPos_mean,&sPos_dev);
					calcV(&sDif,&sDif_mean,&sDif_dev);
					printf("%x lost = %d fc %d corr=%d posM %d posS %d  difM %d difS %d %d %d %d\n",readSpeedXScaled,cntLost,forceCounter,cntCorr,(int)sPos_mean,(int)sPos_dev,(int)sDif_mean,(int)sDif_dev,(int)inputSpeed,(int)outSpeed,appDistErr);
					clearV(&sPos);
					clearV(&sDif);
					//printf("%d KB/s %d %d appDistErr %d\n",(int)((summ-prev_summ)*1000*31/(curr-start)),(int)inputSpeed,(int)outSpeed,appDistErr);//cr_flush();
					start = curr;
					prev_summ = summ;
				}
				// init new
				// clear entries
				for(int k=0;k<NUM_PAKS_IN_SUP;k++)
				{
					APacketQ[k].num = NUM_PAKS_IN_SUP;
				}

				APacketQ[ATemp.num] = ATemp;

			}
			else
			{
				if(ATemp.num<NUM_PAKS_IN_SUP)
				{
					APacketQ[ATemp.num] = ATemp;
				}
				else
				{
					// ?? unknown
				}
				delay_uS(10);
				//delay_uS(40);
			}
#endif

#if 0
			if(old_counter==dfr)
			{
				HAL_GPIO_WritePin(LED_GPIO_Port, LED_Pin, GPIO_PIN_RESET);
				cntOk++;
			}
			else
			{
				//a0 = ATemp.num;
				a1 = old_counter;
				cntLost+= (dfr+NUM_PAKS_IN_SUP-old_counter)%NUM_PAKS_IN_SUP;
			}
			int summ = cntOk+cntLost;
			int curr = HAL_GetTick();
			if((curr-start)>=2000)
			{
				printf("Ok %d,Lost %d, berr%d  %d mS, %d KB/s %d %d %d %d\n",cntOk,cntLost,berr,curr-start,(int)((summ-prev_summ)*1000*31/(curr-start)),a0,a1,NUM_PAKS_IN_SUP,bytes);//cr_flush();
				start = curr;
				prev_summ = summ;
			}
#endif
			old_counter = ATemp.num;//%NUM_PAKS_IN_SUP;
			//HAL_GPIO_WritePin(LED_GPIO_Port, LED_Pin, GPIO_PIN_SET);
	    }
}
/* USER CODE END PV */

void SystemClock_Config(void);
static void MX_GPIO_Init(void);
static void MX_DMA_Init(void);
static void MX_SPI3_Init(void);
static void MX_USART1_UART_Init(void);
static void MX_CRC_Init(void);
static void MX_TIM3_Init(void);
static void MX_USB_OTG_FS_PCD_Init(void);
static void MX_I2S2_Init(void);
static void MX_TIM1_Init(void);

int main(void)
{

  /* MCU Configuration--------------------------------------------------------*/

  /* Reset of all peripherals, Initializes the Flash interface and the Systick. */
  HAL_Init();

  /* Configure the system clock */
  SystemClock_Config();

  /* Initialize all configured peripherals */
  MX_GPIO_Init();
  MX_DMA_Init();
  MX_SPI3_Init();
  MX_USART1_UART_Init();
  MX_CRC_Init();
  MX_TIM3_Init();
  MX_USB_OTG_FS_PCD_Init();
  MX_I2S2_Init();
  MX_TIM1_Init();
  /* USER CODE BEGIN 2 */
  cr_flush();
  printf("\nStart program sys clk=%d MHz\n",HAL_RCC_GetSysClockFreq()/1000000);
  cr_flush();
  AUDIO_OUT_Start(rcv_buff, RCV_SIZE*NUM_RCV_BFRS,16);
  reinit_vars(I2S);

  cr_flush();
  example();
  cr_flush();
  /* USER CODE END 2 */

  /* Infinite loop */
  while (1)
  {

  }
}

void SystemClock_Config(void)
{
  RCC_OscInitTypeDef RCC_OscInitStruct = {0};
  RCC_ClkInitTypeDef RCC_ClkInitStruct = {0};

  /** Configure the main internal regulator output voltage
  */
  __HAL_RCC_PWR_CLK_ENABLE();
  __HAL_PWR_VOLTAGESCALING_CONFIG(PWR_REGULATOR_VOLTAGE_SCALE2);

  /** Initializes the RCC Oscillators according to the specified parameters
  * in the RCC_OscInitTypeDef structure.
  */
  RCC_OscInitStruct.OscillatorType = RCC_OSCILLATORTYPE_HSE;
  RCC_OscInitStruct.HSEState = RCC_HSE_ON;
  RCC_OscInitStruct.PLL.PLLState = RCC_PLL_ON;
  RCC_OscInitStruct.PLL.PLLSource = RCC_PLLSOURCE_HSE;
  RCC_OscInitStruct.PLL.PLLM = 25;
  RCC_OscInitStruct.PLL.PLLN = 336;
  RCC_OscInitStruct.PLL.PLLP = RCC_PLLP_DIV4;
  RCC_OscInitStruct.PLL.PLLQ = 7;
  if (HAL_RCC_OscConfig(&RCC_OscInitStruct) != HAL_OK)
  {
    Error_Handler();
  }

  /** Initializes the CPU, AHB and APB buses clocks
  */
  RCC_ClkInitStruct.ClockType = RCC_CLOCKTYPE_HCLK|RCC_CLOCKTYPE_SYSCLK
                              |RCC_CLOCKTYPE_PCLK1|RCC_CLOCKTYPE_PCLK2;
  RCC_ClkInitStruct.SYSCLKSource = RCC_SYSCLKSOURCE_PLLCLK;
  RCC_ClkInitStruct.AHBCLKDivider = RCC_SYSCLK_DIV1;
  RCC_ClkInitStruct.APB1CLKDivider = RCC_HCLK_DIV2;
  RCC_ClkInitStruct.APB2CLKDivider = RCC_HCLK_DIV1;

  if (HAL_RCC_ClockConfig(&RCC_ClkInitStruct, FLASH_LATENCY_2) != HAL_OK)
  {
    Error_Handler();
  }
}

static void MX_CRC_Init(void)
{

  hcrc.Instance = CRC;
  if (HAL_CRC_Init(&hcrc) != HAL_OK)
  {
    Error_Handler();
  }

}

static void MX_I2S2_Init(void)
{

  hi2s2.Instance = SPI2;
  hi2s2.Init.Mode = I2S_MODE_MASTER_TX;
  hi2s2.Init.Standard = I2S_STANDARD_PHILIPS;
  hi2s2.Init.DataFormat = I2S_DATAFORMAT_32B;
  hi2s2.Init.MCLKOutput = I2S_MCLKOUTPUT_DISABLE;
  hi2s2.Init.AudioFreq = I2S_AUDIOFREQ_44K;
  hi2s2.Init.CPOL = I2S_CPOL_LOW;
  hi2s2.Init.ClockSource = I2S_CLOCK_PLL;
  hi2s2.Init.FullDuplexMode = I2S_FULLDUPLEXMODE_DISABLE;
  if (HAL_I2S_Init(&hi2s2) != HAL_OK)
  {
    Error_Handler();
  }

}

static void MX_SPI3_Init(void)
{

  /* SPI3 parameter configuration*/
  hspi3.Instance = SPI3;
  hspi3.Init.Mode = SPI_MODE_MASTER;
  hspi3.Init.Direction = SPI_DIRECTION_2LINES;
  hspi3.Init.DataSize = SPI_DATASIZE_8BIT;
  hspi3.Init.CLKPolarity = SPI_POLARITY_LOW;
  hspi3.Init.CLKPhase = SPI_PHASE_1EDGE;
  hspi3.Init.NSS = SPI_NSS_SOFT;
  hspi3.Init.BaudRatePrescaler = SPI_BAUDRATEPRESCALER_2;
  hspi3.Init.FirstBit = SPI_FIRSTBIT_MSB;
  hspi3.Init.TIMode = SPI_TIMODE_DISABLE;
  hspi3.Init.CRCCalculation = SPI_CRCCALCULATION_DISABLE;
  hspi3.Init.CRCPolynomial = 10;
  if (HAL_SPI_Init(&hspi3) != HAL_OK)
  {
    Error_Handler();
  }

}

static void MX_TIM1_Init(void)
{

  LL_TIM_InitTypeDef TIM_InitStruct = {0};
  LL_TIM_OC_InitTypeDef TIM_OC_InitStruct = {0};
  LL_TIM_BDTR_InitTypeDef TIM_BDTRInitStruct = {0};

  LL_GPIO_InitTypeDef GPIO_InitStruct = {0};

  /* Peripheral clock enable */
  LL_APB2_GRP1_EnableClock(LL_APB2_GRP1_PERIPH_TIM1);

  /* TIM1 DMA Init */

  /* TIM1_CH1 Init */
  LL_DMA_SetChannelSelection(DMA2, LL_DMA_STREAM_1, LL_DMA_CHANNEL_6);

  LL_DMA_SetDataTransferDirection(DMA2, LL_DMA_STREAM_1, LL_DMA_DIRECTION_MEMORY_TO_PERIPH);

  LL_DMA_SetStreamPriorityLevel(DMA2, LL_DMA_STREAM_1, LL_DMA_PRIORITY_HIGH);

  LL_DMA_SetMode(DMA2, LL_DMA_STREAM_1, LL_DMA_MODE_CIRCULAR);

  LL_DMA_SetPeriphIncMode(DMA2, LL_DMA_STREAM_1, LL_DMA_PERIPH_NOINCREMENT);

  LL_DMA_SetMemoryIncMode(DMA2, LL_DMA_STREAM_1, LL_DMA_MEMORY_INCREMENT);

  LL_DMA_SetPeriphSize(DMA2, LL_DMA_STREAM_1, LL_DMA_PDATAALIGN_HALFWORD);

  LL_DMA_SetMemorySize(DMA2, LL_DMA_STREAM_1, LL_DMA_MDATAALIGN_HALFWORD);

  LL_DMA_EnableFifoMode(DMA2, LL_DMA_STREAM_1);

  LL_DMA_SetFIFOThreshold(DMA2, LL_DMA_STREAM_1, LL_DMA_FIFOTHRESHOLD_FULL);

  LL_DMA_SetMemoryBurstxfer(DMA2, LL_DMA_STREAM_1, LL_DMA_MBURST_SINGLE);

  LL_DMA_SetPeriphBurstxfer(DMA2, LL_DMA_STREAM_1, LL_DMA_PBURST_SINGLE);

  /* TIM1_CH2 Init */
  LL_DMA_SetChannelSelection(DMA2, LL_DMA_STREAM_2, LL_DMA_CHANNEL_6);

  LL_DMA_SetDataTransferDirection(DMA2, LL_DMA_STREAM_2, LL_DMA_DIRECTION_MEMORY_TO_PERIPH);

  LL_DMA_SetStreamPriorityLevel(DMA2, LL_DMA_STREAM_2, LL_DMA_PRIORITY_HIGH);

  LL_DMA_SetMode(DMA2, LL_DMA_STREAM_2, LL_DMA_MODE_CIRCULAR);

  LL_DMA_SetPeriphIncMode(DMA2, LL_DMA_STREAM_2, LL_DMA_PERIPH_NOINCREMENT);

  LL_DMA_SetMemoryIncMode(DMA2, LL_DMA_STREAM_2, LL_DMA_MEMORY_INCREMENT);

  LL_DMA_SetPeriphSize(DMA2, LL_DMA_STREAM_2, LL_DMA_PDATAALIGN_HALFWORD);

  LL_DMA_SetMemorySize(DMA2, LL_DMA_STREAM_2, LL_DMA_MDATAALIGN_HALFWORD);

  LL_DMA_EnableFifoMode(DMA2, LL_DMA_STREAM_2);

  LL_DMA_SetFIFOThreshold(DMA2, LL_DMA_STREAM_2, LL_DMA_FIFOTHRESHOLD_FULL);

  LL_DMA_SetMemoryBurstxfer(DMA2, LL_DMA_STREAM_2, LL_DMA_MBURST_SINGLE);

  LL_DMA_SetPeriphBurstxfer(DMA2, LL_DMA_STREAM_2, LL_DMA_PBURST_SINGLE);

  TIM_InitStruct.Prescaler = 0;
  TIM_InitStruct.CounterMode = LL_TIM_COUNTERMODE_UP;
  TIM_InitStruct.Autoreload = 65535;
  TIM_InitStruct.ClockDivision = LL_TIM_CLOCKDIVISION_DIV1;
  TIM_InitStruct.RepetitionCounter = 0;
  LL_TIM_Init(TIM1, &TIM_InitStruct);
  LL_TIM_DisableARRPreload(TIM1);
  LL_TIM_SetClockSource(TIM1, LL_TIM_CLOCKSOURCE_INTERNAL);
  LL_TIM_OC_EnablePreload(TIM1, LL_TIM_CHANNEL_CH1);
  TIM_OC_InitStruct.OCMode = LL_TIM_OCMODE_PWM1;
  TIM_OC_InitStruct.OCState = LL_TIM_OCSTATE_DISABLE;
  TIM_OC_InitStruct.OCNState = LL_TIM_OCSTATE_DISABLE;
  TIM_OC_InitStruct.CompareValue = 0;
  TIM_OC_InitStruct.OCPolarity = LL_TIM_OCPOLARITY_HIGH;
  TIM_OC_InitStruct.OCNPolarity = LL_TIM_OCPOLARITY_HIGH;
  TIM_OC_InitStruct.OCIdleState = LL_TIM_OCIDLESTATE_LOW;
  TIM_OC_InitStruct.OCNIdleState = LL_TIM_OCIDLESTATE_LOW;
  LL_TIM_OC_Init(TIM1, LL_TIM_CHANNEL_CH1, &TIM_OC_InitStruct);
  LL_TIM_OC_DisableFast(TIM1, LL_TIM_CHANNEL_CH1);
  LL_TIM_OC_EnablePreload(TIM1, LL_TIM_CHANNEL_CH2);
  LL_TIM_OC_Init(TIM1, LL_TIM_CHANNEL_CH2, &TIM_OC_InitStruct);
  LL_TIM_OC_DisableFast(TIM1, LL_TIM_CHANNEL_CH2);
  LL_TIM_SetTriggerOutput(TIM1, LL_TIM_TRGO_RESET);
  LL_TIM_DisableMasterSlaveMode(TIM1);
  TIM_BDTRInitStruct.OSSRState = LL_TIM_OSSR_DISABLE;
  TIM_BDTRInitStruct.OSSIState = LL_TIM_OSSI_DISABLE;
  TIM_BDTRInitStruct.LockLevel = LL_TIM_LOCKLEVEL_OFF;
  TIM_BDTRInitStruct.DeadTime = 0;
  TIM_BDTRInitStruct.BreakState = LL_TIM_BREAK_DISABLE;
  TIM_BDTRInitStruct.BreakPolarity = LL_TIM_BREAK_POLARITY_HIGH;
  TIM_BDTRInitStruct.AutomaticOutput = LL_TIM_AUTOMATICOUTPUT_DISABLE;
  LL_TIM_BDTR_Init(TIM1, &TIM_BDTRInitStruct);
  LL_AHB1_GRP1_EnableClock(LL_AHB1_GRP1_PERIPH_GPIOB);
  LL_AHB1_GRP1_EnableClock(LL_AHB1_GRP1_PERIPH_GPIOA);
  /**TIM1 GPIO Configuration
  PB0   ------> TIM1_CH2N
  PB13   ------> TIM1_CH1N
  PA8   ------> TIM1_CH1
  PA9   ------> TIM1_CH2
  */
  GPIO_InitStruct.Pin = LL_GPIO_PIN_0|LL_GPIO_PIN_13;
  GPIO_InitStruct.Mode = LL_GPIO_MODE_ALTERNATE;
  GPIO_InitStruct.Speed = LL_GPIO_SPEED_FREQ_LOW;
  GPIO_InitStruct.OutputType = LL_GPIO_OUTPUT_PUSHPULL;
  GPIO_InitStruct.Pull = LL_GPIO_PULL_NO;
  GPIO_InitStruct.Alternate = LL_GPIO_AF_1;
  LL_GPIO_Init(GPIOB, &GPIO_InitStruct);

  GPIO_InitStruct.Pin = LL_GPIO_PIN_8|LL_GPIO_PIN_9;
  GPIO_InitStruct.Mode = LL_GPIO_MODE_ALTERNATE;
  GPIO_InitStruct.Speed = LL_GPIO_SPEED_FREQ_LOW;
  GPIO_InitStruct.OutputType = LL_GPIO_OUTPUT_OPENDRAIN;
  GPIO_InitStruct.Pull = LL_GPIO_PULL_NO;
  GPIO_InitStruct.Alternate = LL_GPIO_AF_1;
  LL_GPIO_Init(GPIOA, &GPIO_InitStruct);

}

static void MX_TIM3_Init(void)
{

  TIM_ClockConfigTypeDef sClockSourceConfig = {0};
  TIM_MasterConfigTypeDef sMasterConfig = {0};

  htim3.Instance = TIM3;
  htim3.Init.Prescaler = 0;
  htim3.Init.CounterMode = TIM_COUNTERMODE_UP;
  htim3.Init.Period = 65535;
  htim3.Init.ClockDivision = TIM_CLOCKDIVISION_DIV1;
  htim3.Init.AutoReloadPreload = TIM_AUTORELOAD_PRELOAD_DISABLE;
  if (HAL_TIM_Base_Init(&htim3) != HAL_OK)
  {
    Error_Handler();
  }
  sClockSourceConfig.ClockSource = TIM_CLOCKSOURCE_INTERNAL;
  if (HAL_TIM_ConfigClockSource(&htim3, &sClockSourceConfig) != HAL_OK)
  {
    Error_Handler();
  }
  sMasterConfig.MasterOutputTrigger = TIM_TRGO_RESET;
  sMasterConfig.MasterSlaveMode = TIM_MASTERSLAVEMODE_DISABLE;
  if (HAL_TIMEx_MasterConfigSynchronization(&htim3, &sMasterConfig) != HAL_OK)
  {
    Error_Handler();
  }

}

static void MX_USART1_UART_Init(void)
{

  huart1.Instance = USART1;
  huart1.Init.BaudRate = 115200;
  huart1.Init.WordLength = UART_WORDLENGTH_8B;
  huart1.Init.StopBits = UART_STOPBITS_1;
  huart1.Init.Parity = UART_PARITY_NONE;
  huart1.Init.Mode = UART_MODE_TX_RX;
  huart1.Init.HwFlowCtl = UART_HWCONTROL_NONE;
  huart1.Init.OverSampling = UART_OVERSAMPLING_16;
  if (HAL_UART_Init(&huart1) != HAL_OK)
  {
    Error_Handler();
  }

}

static void MX_USB_OTG_FS_PCD_Init(void)
{

  hpcd_USB_OTG_FS.Instance = USB_OTG_FS;
  hpcd_USB_OTG_FS.Init.dev_endpoints = 4;
  hpcd_USB_OTG_FS.Init.speed = PCD_SPEED_FULL;
  hpcd_USB_OTG_FS.Init.dma_enable = DISABLE;
  hpcd_USB_OTG_FS.Init.phy_itface = PCD_PHY_EMBEDDED;
  hpcd_USB_OTG_FS.Init.Sof_enable = DISABLE;
  hpcd_USB_OTG_FS.Init.low_power_enable = DISABLE;
  hpcd_USB_OTG_FS.Init.lpm_enable = DISABLE;
  hpcd_USB_OTG_FS.Init.vbus_sensing_enable = DISABLE;
  hpcd_USB_OTG_FS.Init.use_dedicated_ep1 = DISABLE;
  if (HAL_PCD_Init(&hpcd_USB_OTG_FS) != HAL_OK)
  {
    Error_Handler();
  }

}

static void MX_DMA_Init(void)
{

  /* DMA controller clock enable */
  __HAL_RCC_DMA1_CLK_ENABLE();
  __HAL_RCC_DMA2_CLK_ENABLE();

  /* DMA interrupt init */
  /* DMA1_Stream4_IRQn interrupt configuration */
  HAL_NVIC_SetPriority(DMA1_Stream4_IRQn, 0, 0);
  HAL_NVIC_EnableIRQ(DMA1_Stream4_IRQn);
  /* DMA2_Stream1_IRQn interrupt configuration */
  NVIC_SetPriority(DMA2_Stream1_IRQn, NVIC_EncodePriority(NVIC_GetPriorityGrouping(),0, 0));
  NVIC_EnableIRQ(DMA2_Stream1_IRQn);
  /* DMA2_Stream2_IRQn interrupt configuration */
  NVIC_SetPriority(DMA2_Stream2_IRQn, NVIC_EncodePriority(NVIC_GetPriorityGrouping(),0, 0));
  NVIC_EnableIRQ(DMA2_Stream2_IRQn);

}

static void MX_GPIO_Init(void)
{
  GPIO_InitTypeDef GPIO_InitStruct = {0};

  /* GPIO Ports Clock Enable */
  __HAL_RCC_GPIOC_CLK_ENABLE();
  __HAL_RCC_GPIOH_CLK_ENABLE();
  __HAL_RCC_GPIOA_CLK_ENABLE();
  __HAL_RCC_GPIOB_CLK_ENABLE();

  /*Configure GPIO pin Output Level */
  HAL_GPIO_WritePin(LED_GPIO_Port, LED_Pin, GPIO_PIN_SET);

  /*Configure GPIO pin Output Level */
  HAL_GPIO_WritePin(GPIOA, NRF_CE_Pin|NRF_CSN_Pin, GPIO_PIN_RESET);

  /*Configure GPIO pin : LED_Pin */
  GPIO_InitStruct.Pin = LED_Pin;
  GPIO_InitStruct.Mode = GPIO_MODE_OUTPUT_OD;
  GPIO_InitStruct.Pull = GPIO_NOPULL;
  GPIO_InitStruct.Speed = GPIO_SPEED_FREQ_LOW;
  HAL_GPIO_Init(LED_GPIO_Port, &GPIO_InitStruct);

  /*Configure GPIO pin : NRF_IRQ_Pin */
  GPIO_InitStruct.Pin = NRF_IRQ_Pin;
  GPIO_InitStruct.Mode = GPIO_MODE_IT_FALLING;
  GPIO_InitStruct.Pull = GPIO_PULLUP;
  HAL_GPIO_Init(NRF_IRQ_GPIO_Port, &GPIO_InitStruct);

  /*Configure GPIO pins : NRF_CE_Pin NRF_CSN_Pin */
  GPIO_InitStruct.Pin = NRF_CE_Pin|NRF_CSN_Pin;
  GPIO_InitStruct.Mode = GPIO_MODE_OUTPUT_PP;
  GPIO_InitStruct.Pull = GPIO_NOPULL;
  GPIO_InitStruct.Speed = GPIO_SPEED_FREQ_HIGH;
  HAL_GPIO_Init(GPIOA, &GPIO_InitStruct);

  /* EXTI interrupt init*/
  HAL_NVIC_SetPriority(EXTI1_IRQn, 0, 0);
  HAL_NVIC_EnableIRQ(EXTI1_IRQn);

}

void Error_Handler(void)
{
  __disable_irq();
  while (1)
  {
  }
}
